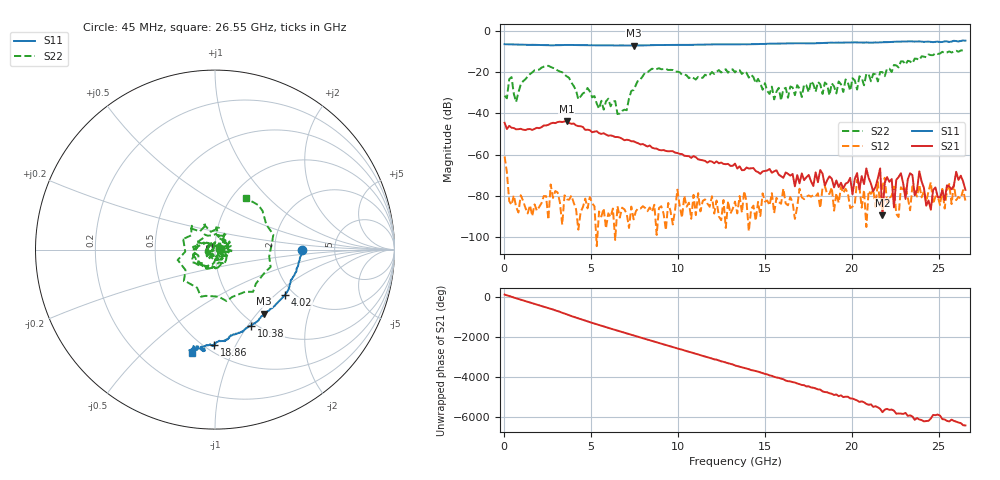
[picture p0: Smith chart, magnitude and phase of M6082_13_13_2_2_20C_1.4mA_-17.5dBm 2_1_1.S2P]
!  2-Port S-parameters saved by WinCal
! VAR MeasName=S-Parameters (CALIBRATED_DATA) read from VNA (C)
! VAR MeasDate=10/16/2015 10:48:22 AM
! VAR NAME=M6082_13_13_2_2_20C_1.4mA_-17.5dBm 2
! VAR FILENAME=M6082_13_13_2_2_20C_1.4mA_-17.5dBm 2_1_1.S2P
! VAR DATE=10/16/2015 10:48:22 AM
! VAR PHYS_PORTS=2,1
! VAR ObjTypeName=DATASET
! VAR IndexType=Frequency
# Hz S DB R 50
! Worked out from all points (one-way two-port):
!   201 points, 45 MHz to 26.55 GHz, reference 50 ohm
!   highest |S21| = -43.62 dB at 3.623 GHz (marker M1); lowest = -89.6 dB at 21.77 GHz (marker M2)
!   lowest |S11| = -6.9 dB at 7.465 GHz (marker M3), VSWR 2.64, Z = 60.8 - j54.5 ohm
!   |S11| at or under -10 dB: nowhere
!   |S22| runs from -40.3 to -9.2 dB; largest |S21 - S12| = 0.0066
!   S11 on the Smith chart (normalised r, x): 45 MHz: 2.89, -0.03; 4.02 GHz: 1.80, -1.16; 10.38 GHz: 0.95, -1.04; 18.86 GHz: 0.56, -0.82; 26.55 GHz: 0.40, -0.72
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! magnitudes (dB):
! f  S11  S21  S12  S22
! 45 MHz  -6.3  -44.5  -60.9  -31.3
! 310 MHz  -6.3  -46.0  -82.6  -23.3
! 707.5 MHz  -6.5  -47.7  -85.5  -34.4
! 1.768 GHz  -6.6  -47.5  -84.3  -19.0
! 3.623 GHz  -6.6  -43.6  -81.8  -21.9
! 4.02 GHz  -6.7  -44.9  -83.5  -26.7
! 4.55 GHz  -6.8  -46.6  -85.6  -30.2
! 6.537 GHz  -6.9  -51.5  -85.1  -40.3
! 7.465 GHz  -6.9  -53.6  -91.6  -28.6
! 8.922 GHz  -6.7  -57.7  -86.0  -18.0
! 10.38 GHz  -6.6  -60.6  -80.0  -21.0
! 13.29 GHz  -6.3  -64.4  -82.9  -20.0
! 15.55 GHz  -6.0  -68.2  -88.5  -33.2
! 17.8 GHz  -5.9  -75.3  -79.8  -25.7
! 18.86 GHz  -5.5  -71.7  -75.9  -25.3
! 20.05 GHz  -5.4  -79.3  -85.4  -22.9
! 20.85 GHz  -5.4  -66.8  -95.3  -20.8
! 21.25 GHz  -5.5  -77.9  -77.0  -20.7
! 21.64 GHz  -5.4  -66.7  -85.0  -19.8
! 21.77 GHz  -5.3  -89.6  -75.7  -19.9
! 22.17 GHz  -5.2  -73.3  -81.5  -18.2
! 26.55 GHz  -4.6  -77.2  -82.4  -9.5
